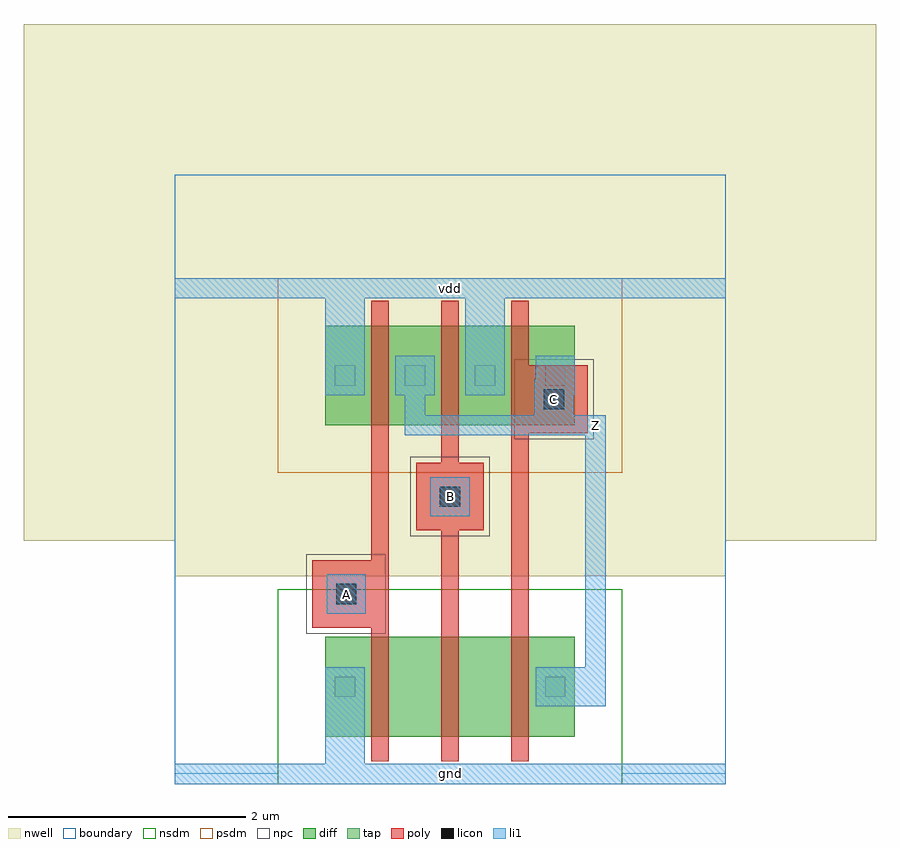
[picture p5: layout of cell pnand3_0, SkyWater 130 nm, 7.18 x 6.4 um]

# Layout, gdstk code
import gdstk
lib = gdstk.Library(unit=1e-6, precision=1e-09)
def R(c, l, rs):  # rectangles x0, y0, x1, y1
    for r in rs: c.add(gdstk.rectangle(r[:2], r[2:], *l))
def A(c, l, x, y, w, h, nx, ny, dx, dy):  # array of equal rectangles
    R(c, l, [(x+i*dx, y+j*dy, x+i*dx+w, y+j*dy+h) for i in range(nx) for j in range(ny)])
nwell = (64, 20)
diff = (65, 20)
tap = (65, 44)
poly = (66, 20)
licon = (66, 44)
li1 = (67, 20)
nsdm = (93, 44)
psdm = (94, 20)
npc = (95, 20)
boundary = (235, 4)

contact_10 = lib.new_cell('contact_10')
R(contact_10, nwell, [(-1.25,-1.25,1.58,1.58)])
R(contact_10, diff, [(0.02,0.02,0.31,0.31)])
R(contact_10, tap, [(0.08,0.08,0.25,0.25)])
R(contact_10, li1, [(0,0,0.33,0.33)])
R(contact_10, psdm, [(-0.38,-0.38,0.71,0.71)])
R(contact_10, boundary, [(-1.25,-1.25,1.58,1.58)])

pmos_m1_w0_840_sli_dli = lib.new_cell('pmos_m1_w0_840_sli_dli')
R(pmos_m1_w0_840_sli_dli, nwell, [(-1.27,-1.27,2.19,2.11)])
R(pmos_m1_w0_840_sli_dli, diff, [(0,0,0.92,0.84)])
R(pmos_m1_w0_840_sli_dli, poly, [(0.385,-0.21,0.535,1.05), (0.385,-0.21,0.535,1.05)])
R(pmos_m1_w0_840_sli_dli, li1, [(0,0.255,0.33,0.585), (0.59,0.255,0.92,0.585)])
R(pmos_m1_w0_840_sli_dli, psdm, [(-0.4,-0.4,1.32,1.24)])
R(pmos_m1_w0_840_sli_dli, boundary, [(-1.27,-1.27,2.19,2.11)])
pmos_m1_w0_840_sli_dli.add(gdstk.Reference(contact_10, (0,0.255)))
pmos_m1_w0_840_sli_dli.add(gdstk.Reference(contact_10, (0.59,0.255)))
pmos_m1_w0_840_sli_dli.add(gdstk.Label('G', (0.46,0.42), layer=66, texttype=20))
pmos_m1_w0_840_sli_dli.add(gdstk.Label('S', (0.165,0.42), layer=67, texttype=20))
pmos_m1_w0_840_sli_dli.add(gdstk.Label('D', (0.755,0.42), layer=67, texttype=20))

contact_9 = lib.new_cell('contact_9')
R(contact_9, diff, [(0.02,0.02,0.31,0.31)])
R(contact_9, tap, [(0.08,0.08,0.25,0.25)])
R(contact_9, li1, [(0,0,0.33,0.33)])
R(contact_9, nsdm, [(-0.38,-0.38,0.71,0.71)])
R(contact_9, boundary, [(-0.38,-0.38,0.71,0.71)])

nmos_m1_w0_840_sli_dacti = lib.new_cell('nmos_m1_w0_840_sli_dactive')
R(nmos_m1_w0_840_sli_dacti, diff, [(0,0,0.92,0.84), (0.62,0.285,0.89,0.555)])
R(nmos_m1_w0_840_sli_dacti, poly, [(0.385,-0.21,0.535,1.05), (0.385,-0.21,0.535,1.05)])
R(nmos_m1_w0_840_sli_dacti, li1, [(0,0.255,0.33,0.585)])
R(nmos_m1_w0_840_sli_dacti, nsdm, [(-0.4,-0.4,1.32,1.24)])
R(nmos_m1_w0_840_sli_dacti, boundary, [(-0.4,-0.4,1.32,1.24)])
nmos_m1_w0_840_sli_dacti.add(gdstk.Reference(contact_9, (0,0.255)))
nmos_m1_w0_840_sli_dacti.add(gdstk.Label('G', (0.46,0.42), layer=66, texttype=20))
nmos_m1_w0_840_sli_dacti.add(gdstk.Label('S', (0.165,0.42), layer=67, texttype=20))
nmos_m1_w0_840_sli_dacti.add(gdstk.Label('D', (0.755,0.42), layer=65, texttype=20))

nmos_m1_w0_840_sactive_d = lib.new_cell('nmos_m1_w0_840_sactive_dactive')
R(nmos_m1_w0_840_sactive_d, diff, [(0,0,0.92,0.84), (0.03,0.285,0.3,0.555), (0.62,0.285,0.89,0.555)])
R(nmos_m1_w0_840_sactive_d, poly, [(0.385,-0.21,0.535,1.05), (0.385,-0.21,0.535,1.05)])
R(nmos_m1_w0_840_sactive_d, nsdm, [(-0.4,-0.4,1.32,1.24)])
R(nmos_m1_w0_840_sactive_d, boundary, [(-0.4,-0.4,1.32,1.24)])
nmos_m1_w0_840_sactive_d.add(gdstk.Label('G', (0.46,0.42), layer=66, texttype=20))
nmos_m1_w0_840_sactive_d.add(gdstk.Label('S', (0.165,0.42), layer=65, texttype=20))
nmos_m1_w0_840_sactive_d.add(gdstk.Label('D', (0.755,0.42), layer=65, texttype=20))

c_nmos_m1_w0_840_sactive_d = lib.new_cell('nmos_m1_w0_840_sactive_dli')
R(c_nmos_m1_w0_840_sactive_d, diff, [(0,0,0.92,0.84), (0.03,0.285,0.3,0.555)])
R(c_nmos_m1_w0_840_sactive_d, poly, [(0.385,-0.21,0.535,1.05), (0.385,-0.21,0.535,1.05)])
R(c_nmos_m1_w0_840_sactive_d, li1, [(0.59,0.255,0.92,0.585)])
R(c_nmos_m1_w0_840_sactive_d, nsdm, [(-0.4,-0.4,1.32,1.24)])
R(c_nmos_m1_w0_840_sactive_d, boundary, [(-0.4,-0.4,1.32,1.24)])
c_nmos_m1_w0_840_sactive_d.add(gdstk.Reference(contact_9, (0.59,0.255)))
c_nmos_m1_w0_840_sactive_d.add(gdstk.Label('G', (0.46,0.42), layer=66, texttype=20))
c_nmos_m1_w0_840_sactive_d.add(gdstk.Label('S', (0.165,0.42), layer=65, texttype=20))
c_nmos_m1_w0_840_sactive_d.add(gdstk.Label('D', (0.755,0.42), layer=67, texttype=20))

contact_13 = lib.new_cell('contact_13')
R(contact_13, poly, [(0,0,0.57,0.57)])
R(contact_13, licon, [(0.2,0.2,0.37,0.37)])
R(contact_13, li1, [(0.12,0.12,0.45,0.45)])
R(contact_13, npc, [(-0.05,-0.05,0.62,0.62)])
R(contact_13, boundary, [(-0.05,-0.05,0.62,0.62)])

pnand3_0 = lib.new_cell('pnand3_0')
R(pnand3_0, nwell, [(-1.27,1.965,5.91,6.315)])
A(pnand3_0, poly, 1.655, 1.365, 0.15, 1.36, 3, 1, 0.59, 0)
R(pnand3_0, poly, [(1.445,1.23,1.655,1.8), (2.245,2.05,2.32,2.62), (2.835,2.87,3.195,3.44)])
R(pnand3_0, li1, [(0,-0.085,4.64,0.085), (1.27,-0.085,1.6,0.57), (3.205,0.57,3.545,0.9), (3.46,0.57,3.63,2.935), (1.28,1.35,1.61,1.68), (2.155,2.17,2.485,2.5), (1.94,2.85,2.11,3.02), (2.025,2.85,3.545,3.02), (3.12,2.85,3.29,3.02), (3.205,2.85,3.545,3.02), (3.46,2.85,3.63,3.02), (1.94,2.935,2.11,3.355), (3.12,2.935,3.29,3.355), (3.03,2.99,3.36,3.32), (1.27,3.19,1.6,4.175), (2.45,3.19,2.78,4.175), (0,4.005,4.64,4.175)])
R(pnand3_0, boundary, [(0,0,4.64,4.09), (0,0,4.64,4.09)])
pnand3_0.add(gdstk.Reference(pmos_m1_w0_840_sli_dli, (1.27,2.935)))
pnand3_0.add(gdstk.Reference(pmos_m1_w0_840_sli_dli, (1.86,2.935)))
pnand3_0.add(gdstk.Reference(pmos_m1_w0_840_sli_dli, (2.45,2.935)))
pnand3_0.add(gdstk.Reference(nmos_m1_w0_840_sli_dacti, (1.27,0.315)))
pnand3_0.add(gdstk.Reference(nmos_m1_w0_840_sactive_d, (1.86,0.315)))
pnand3_0.add(gdstk.Reference(c_nmos_m1_w0_840_sactive_d, (2.45,0.315)))
pnand3_0.add(gdstk.Reference(contact_13, (1.16,1.23)))
pnand3_0.add(gdstk.Reference(contact_13, (2.035,2.05)))
pnand3_0.add(gdstk.Reference(contact_13, (2.91,2.87)))
pnand3_0.add(gdstk.Label('A', (1.445,1.515), layer=67, texttype=20))
pnand3_0.add(gdstk.Label('B', (2.32,2.335), layer=67, texttype=20))
pnand3_0.add(gdstk.Label('C', (3.195,3.155), layer=67, texttype=20))
pnand3_0.add(gdstk.Label('Z', (3.545,2.935), layer=67, texttype=20))
pnand3_0.add(gdstk.Label('gnd', (2.32,0), layer=67, texttype=20))
pnand3_0.add(gdstk.Label('vdd', (2.32,4.09), layer=67, texttype=20))

lib.write_gds('pnand3_0.gds')
